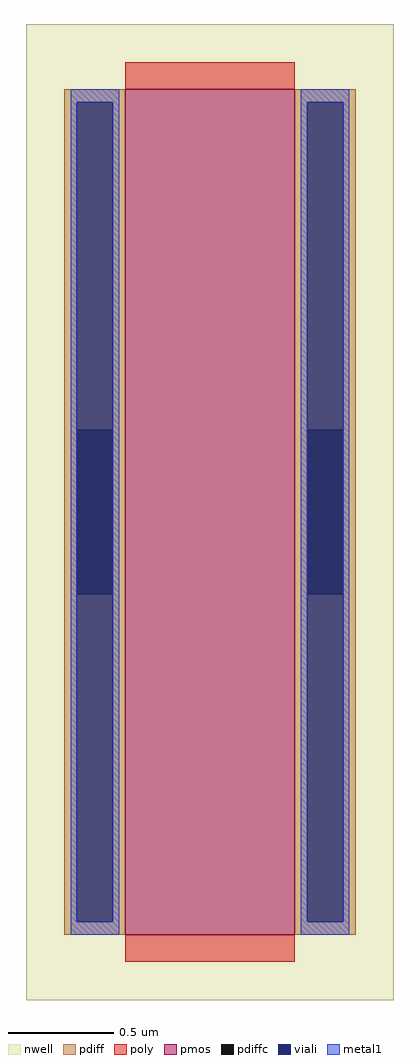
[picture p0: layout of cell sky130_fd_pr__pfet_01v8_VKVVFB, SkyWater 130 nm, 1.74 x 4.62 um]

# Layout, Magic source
magic
tech sky130A
<< nwell >>
rect -87 -231 87 231
<< pmos >>
rect -40 -200 40 200
<< pdiff >>
rect -69 39 -40 200
rect -69 -39 -63 39
rect -46 -39 -40 39
rect -69 -200 -40 -39
rect 40 39 69 200
rect 40 -39 46 39
rect 63 -39 69 39
rect 40 -200 69 -39
<< pdiffc >>
rect -63 -39 -46 39
rect 46 -39 63 39
<< poly >>
rect -40 200 40 213
rect -40 -213 40 -200
<< viali >>
rect -63 39 -46 194
rect -63 -39 -46 39
rect -63 -194 -46 -39
rect 46 39 63 194
rect 46 -39 63 39
rect 46 -194 63 -39
<< metal1 >>
rect -66 194 -43 200
rect -66 -194 -63 194
rect -46 -194 -43 194
rect -66 -200 -43 -194
rect 43 194 66 200
rect 43 -194 46 194
rect 63 -194 66 194
rect 43 -200 66 -194
<< properties >>
string gencell sky130_fd_pr__pfet_01v8
string library sky130
string parameters w 4 l 0.8 m 1 nf 1 diffcov 20 polycov 50 guard 0 glc 0 grc 0 gtc 0 gbc 0 tbcov 100 rlcov 100 topc 0 botc 0 poverlap 0 doverlap 0 lmin 0.15 wmin 0.42 compatible {sky130_fd_pr__pfet_01v8  sky130_fd_pr__pfet_01v8_lvt sky130_fd_pr__pfet_01v8_hvt  sky130_fd_pr__pfet_g5v0d10v5} full_metal 0 viasrc 100 viadrn 100 viagate 100 viagb 0 viagr 0 viagl 0 viagt 0
<< end >>
